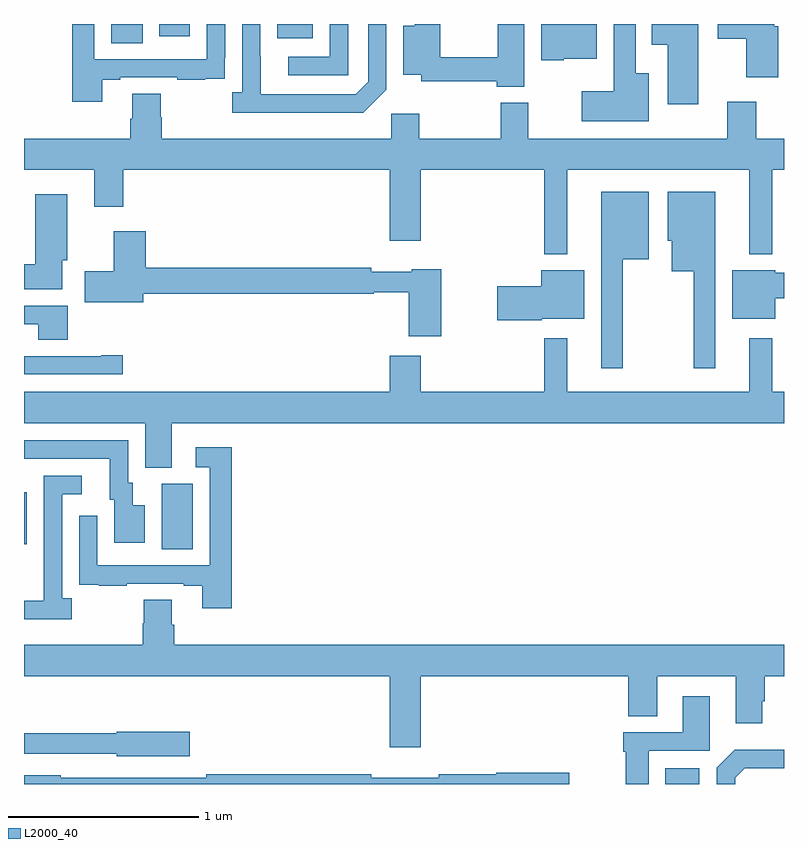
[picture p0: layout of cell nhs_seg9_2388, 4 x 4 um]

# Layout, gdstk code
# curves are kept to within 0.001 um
import gdstk
lib = gdstk.Library(unit=1e-6, precision=1e-09)
def R(c, l, rs):  # rectangles x0, y0, x1, y1
    for r in rs: c.add(gdstk.rectangle(r[:2], r[2:], *l))
def P(c, l, *ps):  # polygons
    for p in ps: c.add(gdstk.Polygon(p, *l))
L2000_40 = (2000, 40)

nhs_seg9_2388 = lib.new_cell('nhs_seg9_2388')
R(nhs_seg9_2388, L2000_40, [(250.376,1214.5,250.555,1214.584), (247.724,1215.736,247.888,1216.08), (247,1215.761,247.015,1216.036), (247.46,1218.4,247.624,1218.5), (248.333,1218.425,248.521,1218.5), (247.712,1218.435,247.873,1218.5)])
P(nhs_seg9_2388, L2000_40, [(250.97,1218.488),(250.948,1218.488),(250.948,1218.5),(250.65,1218.5),(250.65,1218.423),(250.802,1218.423),(250.802,1218.219),(250.97,1218.219)],
  [(250.288,1218.241),(250.219,1218.241),(250.219,1218.5),(250.103,1218.5),(250.103,1218.145),(249.936,1218.145),(249.936,1217.987),(250.288,1217.987)],
  [(249.84,1218.317),(250.015,1218.317),(250.015,1218.5),(249.722,1218.5),(249.722,1218.308),(249.84,1218.308)],
  [(249.634,1218.5),(249.493,1218.5),(249.493,1218.326),(249.192,1218.326),(249.192,1218.5),(249.056,1218.5),(249.056,1218.49),(248.996,1218.49),(248.996,1218.233),(249.09,1218.233),(249.09,1218.198),(249.488,1218.198),(249.488,1218.17),(249.634,1218.17)],
  [(250.549,1218.5),(250.304,1218.5),(250.304,1218.392),(250.388,1218.392),(250.388,1218.078),(250.549,1218.078)],
  [(248.706,1218.5),(248.61,1218.5),(248.61,1218.327),(248.391,1218.327),(248.391,1218.231),(248.706,1218.231)],
  [(247.411,1218.207),(247.507,1218.207),(247.507,1218.219),(247.807,1218.219),(247.807,1218.207),(247.955,1218.207),(247.955,1218.213),(248.057,1218.213),(248.057,1218.322),(248.058,1218.322),(248.058,1218.5),(247.962,1218.5),(247.962,1218.315),(247.371,1218.315),(247.371,1218.5),(247.255,1218.5),(247.255,1218.09),(247.411,1218.09)],
  [(248.907,1218.153),(248.907,1218.5),(248.811,1218.5),(248.811,1218.195),(248.745,1218.129),(248.245,1218.129),(248.244,1218.5),(248.148,1218.5),(248.148,1218.142),(248.097,1218.142),(248.097,1218.032),(248.786,1218.032)],
  [(249.655,1218.085),(249.508,1218.085),(249.508,1217.896),(249.081,1217.896),(249.081,1218.028),(248.934,1218.028),(248.934,1217.896),(247.724,1217.896),(247.724,1218.009),(247.719,1218.009),(247.719,1218.134),(247.571,1218.134),(247.571,1218.002),(247.559,1218.002),(247.559,1217.896),(247,1217.896),(247,1217.732),(247.37,1217.732),(247.37,1217.538),(247.523,1217.538),(247.523,1217.732),(248.924,1217.732),(248.924,1217.358),(249.088,1217.358),(249.088,1217.732),(249.738,1217.732),(249.738,1217.288),(249.859,1217.288),(249.859,1217.732),(250.817,1217.732),(250.817,1217.288),(250.939,1217.288),(250.939,1217.732),(251,1217.732),(251,1217.896),(250.853,1217.896),(250.853,1218.091),(250.7,1218.091),(250.7,1217.896),(249.655,1217.896)],
  [(250.639,1217.617),(250.388,1217.617),(250.388,1217.358),(250.409,1217.358),(250.409,1217.198),(250.525,1217.198),(250.525,1216.689),(250.639,1216.689)],
  [(250.151,1217.261),(250.288,1217.261),(250.288,1217.617),(250.037,1217.617),(250.037,1216.689),(250.151,1216.689)],
  [(247.201,1217.256),(247.228,1217.256),(247.228,1217.605),(247.058,1217.605),(247.058,1217.236),(247,1217.236),(247,1217.105),(247.201,1217.105)],
  [(249.196,1217.209),(249.042,1217.209),(249.042,1217.197),(248.828,1217.197),(248.828,1217.216),(247.64,1217.216),(247.64,1217.41),(247.472,1217.41),(247.472,1217.199),(247.32,1217.199),(247.32,1217.036),(247.627,1217.036),(247.627,1217.08),(248.842,1217.08),(248.842,1217.088),(249.026,1217.088),(249.026,1216.857),(249.196,1216.857)],
  [(250.954,1217.056),(251,1217.056),(251,1217.192),(250.954,1217.192),(250.954,1217.203),(250.727,1217.203),(250.727,1216.949),(250.954,1216.949)],
  [(249.726,1216.949),(249.949,1216.949),(249.949,1217.203),(249.722,1217.203),(249.722,1217.12),(249.492,1217.12),(249.492,1216.942),(249.726,1216.942)],
  [(247.229,1217.016),(247,1217.016),(247,1216.92),(247.076,1216.92),(247.076,1216.837),(247.229,1216.837)],
  [(251,1216.564),(250.939,1216.564),(250.939,1216.846),(250.817,1216.846),(250.817,1216.564),(249.859,1216.564),(249.859,1216.846),(249.738,1216.846),(249.738,1216.564),(249.088,1216.564),(249.088,1216.753),(248.924,1216.753),(248.924,1216.564),(247,1216.564),(247,1216.4),(247.637,1216.4),(247.637,1216.165),(247.777,1216.165),(247.777,1216.4),(251,1216.4)],
  [(247.519,1216.757),(247.406,1216.757),(247.406,1216.752),(247,1216.752),(247,1216.656),(247.519,1216.656)],
  [(247.636,1215.967),(247.573,1215.967),(247.573,1216.086),(247.548,1216.086),(247.548,1216.308),(247,1216.308),(247,1216.212),(247.451,1216.212),(247.451,1215.996),(247.475,1215.996),(247.475,1215.771),(247.636,1215.771)],
  [(248.093,1216.273),(247.905,1216.273),(247.905,1216.167),(247.977,1216.167),(247.977,1215.651),(247.386,1215.651),(247.386,1215.913),(247.29,1215.913),(247.29,1215.658),(247.291,1215.658),(247.291,1215.549),(247.393,1215.549),(247.393,1215.543),(247.541,1215.543),(247.541,1215.555),(247.841,1215.555),(247.841,1215.543),(247.937,1215.543),(247.937,1215.426),(248.093,1215.426)],
  [(247.252,1215.478),(247.2,1215.478),(247.2,1216.026),(247.303,1216.026),(247.303,1216.122),(247.104,1216.122),(247.104,1215.665),(247.103,1215.665),(247.103,1215.465),(247,1215.465),(247,1215.368),(247.252,1215.368)],
  [(247.79,1215.338),(247.777,1215.338),(247.777,1215.47),(247.63,1215.47),(247.63,1215.345),(247.625,1215.345),(247.625,1215.232),(247,1215.232),(247,1215.068),(248.924,1215.068),(248.924,1214.694),(249.088,1214.694),(249.088,1215.068),(250.181,1215.068),(250.181,1214.857),(250.333,1214.857),(250.333,1215.068),(250.745,1215.068),(250.745,1214.82),(250.885,1214.82),(250.885,1214.935),(250.898,1214.935),(250.898,1215.068),(251,1215.068),(251,1215.232),(247.79,1215.232)],
  [(250.288,1214.676),(250.609,1214.676),(250.609,1214.962),(250.466,1214.962),(250.466,1214.772),(250.154,1214.772),(250.154,1214.669),(250.166,1214.669),(250.166,1214.5),(250.288,1214.5)],
  [(247.873,1214.775),(247.488,1214.775),(247.488,1214.767),(247,1214.767),(247,1214.658),(247.488,1214.658),(247.488,1214.645),(247.873,1214.645)],
  [(250.743,1214.532),(250.794,1214.583),(251,1214.583),(251,1214.68),(250.741,1214.68),(250.647,1214.586),(250.647,1214.5),(250.743,1214.5)],
  [(249.871,1214.558),(249.486,1214.558),(249.486,1214.552),(249.184,1214.552),(249.184,1214.533),(248.828,1214.533),(248.828,1214.552),(247.96,1214.552),(247.96,1214.532),(247.194,1214.532),(247.194,1214.545),(247,1214.545),(247,1214.5),(249.871,1214.5)])

lib.write_gds('nhs_seg9_2388.gds')
